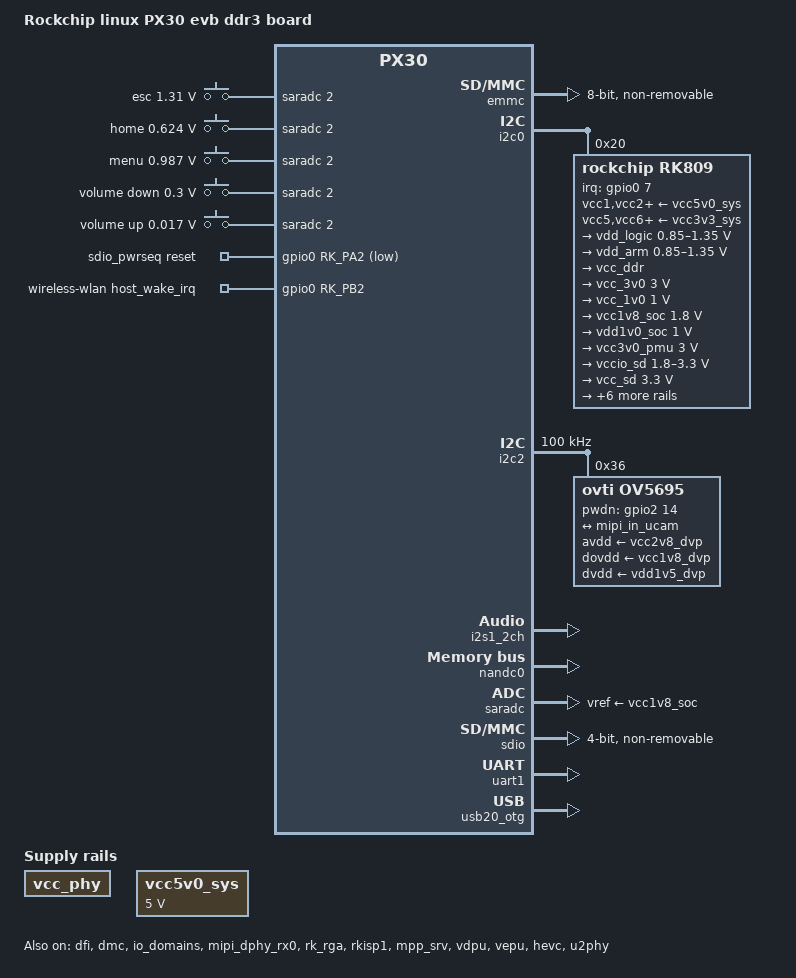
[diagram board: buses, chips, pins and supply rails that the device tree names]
// SPDX-License-Identifier: (GPL-2.0+ OR MIT)
/*
 * Copyright (c) 2019 Fuzhou Rockchip Electronics Co., Ltd
 */

/dts-v1/;
#include <dt-bindings/gpio/gpio.h>
#include <dt-bindings/pinctrl/rockchip.h>
#include <dt-bindings/input/input.h>
#include "px30-robot.dtsi"

/ {
	model = "Rockchip linux PX30 evb ddr3 board";
	compatible = "rockchip,px30-evb-ddr3-v10-linux", "rockchip,px30";

	adc-keys {
		compatible = "adc-keys";
		io-channels = <&saradc 2>;
		io-channel-names = "buttons";
		poll-interval = <100>;
		keyup-threshold-microvolt = <1800000>;

		esc-key {
			linux,code = <KEY_ESC>;
			label = "esc";
			press-threshold-microvolt = <1310000>;
		};

		home-key {
			linux,code = <KEY_HOME>;
			label = "home";
			press-threshold-microvolt = <624000>;
		};

		menu-key {
			linux,code = <KEY_MENU>;
			label = "menu";
			press-threshold-microvolt = <987000>;
		};

		vol-down-key {
			linux,code = <KEY_VOLUMEDOWN>;
			label = "volume down";
			press-threshold-microvolt = <300000>;
		};

		vol-up-key {
			linux,code = <KEY_VOLUMEUP>;
			label = "volume up";
			press-threshold-microvolt = <17000>;
		};
	};

	rk809-sound {
		compatible = "simple-audio-card";
		simple-audio-card,format = "i2s";
		simple-audio-card,name = "rockchip,rk809-codec";
		simple-audio-card,mclk-fs = <256>;
		simple-audio-card,cpu {
			sound-dai = <&i2s1_2ch>;
		};
		simple-audio-card,codec {
			sound-dai = <&rk809_codec>;
		};
	};

	sdio_pwrseq: sdio-pwrseq {
		compatible = "mmc-pwrseq-simple";
		/*clocks = <&rk809 1>;*/
		/*clock-names = "ext_clock";*/
		pinctrl-names = "default";
		pinctrl-0 = <&wifi_enable_h>;

		/*
		 * On the module itself this is one of these (depending
		 * on the actual card populated):
		 * - SDIO_RESET_L_WL_REG_ON
		 * - PDN (power down when low)
		 */
		reset-gpios = <&gpio0 RK_PA2 GPIO_ACTIVE_LOW>; /* GPIO3_A4 */
	};

	vcc_phy: vcc-phy-regulator {
		compatible = "regulator-fixed";
		regulator-name = "vcc_phy";
		regulator-always-on;
		regulator-boot-on;
	};

	vcc5v0_sys: vccsys {
		compatible = "regulator-fixed";
		regulator-name = "vcc5v0_sys";
		regulator-always-on;
		regulator-boot-on;
		regulator-min-microvolt = <5000000>;
		regulator-max-microvolt = <5000000>;
	};

	wireless-wlan {
		compatible = "wlan-platdata";
		wifi_chip_type = "AP6210";
		WIFI,host_wake_irq = <&gpio0 RK_PB2 GPIO_ACTIVE_HIGH>;
		status = "okay";
	};
};

&bus_apll {
	bus-supply = <&vdd_logic>;
	status = "okay";
};

&cpu0 {
	cpu-supply = <&vdd_arm>;
};

&dfi {
	status = "okay";
};

&dmc {
	center-supply = <&vdd_logic>;
	status = "okay";
};

&emmc {
	bus-width = <8>;
	cap-mmc-highspeed;
	mmc-hs200-1_8v;
	no-sdio;
	no-sd;
	disable-wp;
	non-removable;
	num-slots = <1>;
	status = "okay";
};

&gpu {
	mali-supply = <&vdd_logic>;
	status = "disabled";
};

&i2c0 {
	status = "okay";

	rk809: pmic@20 {
		compatible = "rockchip,rk809";
		reg = <0x20>;
		interrupt-parent = <&gpio0>;
		interrupts = <7 IRQ_TYPE_LEVEL_LOW>;
		pinctrl-names = "default", "pmic-sleep",
				"pmic-power-off", "pmic-reset";
		pinctrl-0 = <&pmic_int>;
		pinctrl-1 = <&soc_slppin_slp>, <&rk817_slppin_slp>;
		pinctrl-2 = <&soc_slppin_gpio>, <&rk817_slppin_pwrdn>;
		pinctrl-3 = <&soc_slppin_rst>, <&rk817_slppin_rst>;
		rockchip,system-power-controller;
		wakeup-source;
		#clock-cells = <1>;
		clock-output-names = "rk808-clkout1", "rk808-clkout2";
		//fb-inner-reg-idxs = <2>;
		/* 1: rst regs (default in codes), 0: rst the pmic */
		pmic-reset-func = <1>;

		vcc1-supply = <&vcc5v0_sys>;
		vcc2-supply = <&vcc5v0_sys>;
		vcc3-supply = <&vcc5v0_sys>;
		vcc4-supply = <&vcc5v0_sys>;
		vcc5-supply = <&vcc3v3_sys>;
		vcc6-supply = <&vcc3v3_sys>;
		vcc7-supply = <&vcc3v3_sys>;
		vcc8-supply = <&vcc3v3_sys>;
		vcc9-supply = <&vcc5v0_sys>;

		pwrkey {
			status = "okay";
		};

		pinctrl_rk8xx: pinctrl_rk8xx {
			gpio-controller;
			#gpio-cells = <2>;

			rk817_slppin_null: rk817_slppin_null {
				pins = "gpio_slp";
				function = "pin_fun0";
			};

			rk817_slppin_slp: rk817_slppin_slp {
				pins = "gpio_slp";
				function = "pin_fun1";
			};

			rk817_slppin_pwrdn: rk817_slppin_pwrdn {
				pins = "gpio_slp";
				function = "pin_fun2";
			};

			rk817_slppin_rst: rk817_slppin_rst {
				pins = "gpio_slp";
				function = "pin_fun3";
			};
		};

		regulators {
			vdd_logic: DCDC_REG1 {
				regulator-always-on;
				regulator-boot-on;
				regulator-min-microvolt = <850000>;
				regulator-max-microvolt = <1350000>;
				regulator-ramp-delay = <6001>;
				regulator-initial-mode = <0x2>;
				regulator-name = "vdd_logic";
				regulator-state-mem {
					regulator-on-in-suspend;
					regulator-suspend-microvolt = <950000>;
				};
			};

			vdd_arm: DCDC_REG2 {
				regulator-always-on;
				regulator-boot-on;
				regulator-min-microvolt = <850000>;
				regulator-max-microvolt = <1350000>;
				regulator-ramp-delay = <6001>;
				regulator-initial-mode = <0x2>;
				regulator-name = "vdd_arm";
				regulator-state-mem {
					regulator-off-in-suspend;
					regulator-suspend-microvolt = <950000>;
				};
			};

			vcc_ddr: DCDC_REG3 {
				regulator-always-on;
				regulator-boot-on;
				regulator-name = "vcc_ddr";
				regulator-initial-mode = <0x2>;
				regulator-state-mem {
					regulator-on-in-suspend;
				};
			};

			vcc_3v0: DCDC_REG4 {
				regulator-always-on;
				regulator-boot-on;
				regulator-min-microvolt = <3000000>;
				regulator-max-microvolt = <3000000>;
				regulator-initial-mode = <0x2>;
				regulator-name = "vcc_3v0";
				regulator-state-mem {
					regulator-on-in-suspend;
					regulator-suspend-microvolt = <3000000>;
				};
			};

			vcc_1v0: LDO_REG1 {
				regulator-always-on;
				regulator-boot-on;
				regulator-min-microvolt = <1000000>;
				regulator-max-microvolt = <1000000>;
				regulator-name = "vcc_1v0";
				regulator-state-mem {
					regulator-on-in-suspend;
					regulator-suspend-microvolt = <1000000>;
				};
			};

			vcc1v8_soc: LDO_REG2 {
				regulator-always-on;
				regulator-boot-on;
				regulator-min-microvolt = <1800000>;
				regulator-max-microvolt = <1800000>;

				regulator-name = "vcc1v8_soc";
				regulator-state-mem {
					regulator-on-in-suspend;
					regulator-suspend-microvolt = <1800000>;
				};
			};

			vdd1v0_soc: LDO_REG3 {
				regulator-always-on;
				regulator-boot-on;
				regulator-min-microvolt = <1000000>;
				regulator-max-microvolt = <1000000>;

				regulator-name = "vcc1v0_soc";
				regulator-state-mem {
					regulator-on-in-suspend;
					regulator-suspend-microvolt = <1000000>;
				};
			};

			vcc3v0_pmu: LDO_REG4 {
				regulator-always-on;
				regulator-boot-on;
				regulator-min-microvolt = <3000000>;
				regulator-max-microvolt = <3000000>;

				regulator-name = "vcc3v0_pmu";
				regulator-state-mem {
					regulator-on-in-suspend;
					regulator-suspend-microvolt = <3000000>;

				};
			};

			vccio_sd: LDO_REG5 {
				regulator-always-on;
				regulator-boot-on;
				regulator-min-microvolt = <1800000>;
				regulator-max-microvolt = <3300000>;

				regulator-name = "vccio_sd";
				regulator-state-mem {
					regulator-on-in-suspend;
					regulator-suspend-microvolt = <3300000>;
				};
			};

			vcc_sd: LDO_REG6 {
				regulator-min-microvolt = <3300000>;
				regulator-max-microvolt = <3300000>;
				regulator-boot-on;

				regulator-name = "vcc_sd";
				regulator-state-mem {
					regulator-on-in-suspend;
					regulator-suspend-microvolt = <3300000>;

				};
			};

			vcc2v8_dvp: LDO_REG7 {
				regulator-min-microvolt = <2800000>;
				regulator-max-microvolt = <2800000>;

				regulator-name = "vcc2v8_dvp";
				regulator-state-mem {
					regulator-off-in-suspend;
					regulator-suspend-microvolt = <2800000>;
				};
			};

			vcc1v8_dvp: LDO_REG8 {
				regulator-min-microvolt = <1800000>;
				regulator-max-microvolt = <1800000>;

				regulator-name = "vcc1v8_dvp";
				regulator-state-mem {
					regulator-on-in-suspend;
					regulator-suspend-microvolt = <1800000>;
				};
			};

			vdd1v5_dvp: LDO_REG9 {
				regulator-min-microvolt = <1500000>;
				regulator-max-microvolt = <1500000>;

				regulator-name = "vdd1v5_dvp";
				regulator-state-mem {
					regulator-off-in-suspend;
					regulator-suspend-microvolt = <1500000>;
				};
			};

			vcc3v3_sys: DCDC_REG5 {
				regulator-always-on;
				regulator-boot-on;
				regulator-min-microvolt = <3300000>;
				regulator-max-microvolt = <3300000>;
				regulator-name = "vcc3v3_sys";
				regulator-state-mem {
					regulator-on-in-suspend;
					regulator-suspend-microvolt = <3300000>;
				};
			};

			vcc5v0_host: SWITCH_REG1 {
				regulator-always-on;
				regulator-boot-on;
				regulator-name = "vcc5v0_host";
			};

			vcc3v3_lcd: SWITCH_REG2 {
				regulator-boot-on;
				regulator-name = "vcc3v3_lcd";
			};
		};

		rk809_codec: codec {
			#sound-dai-cells = <0>;
			compatible = "rockchip,rk809-codec", "rockchip,rk817-codec";
			clocks = <&cru SCLK_I2S1_OUT>;
			clock-names = "mclk";
			pinctrl-names = "default";
			pinctrl-0 = <&i2s1_2ch_mclk>;
			hp-volume = <20>;
			spk-volume = <3>;
			status = "okay";
		};
	};
};

&i2c2 {
	status = "okay";

	clock-frequency = <100000>;
	pinctrl-0 = <&i2c2_xfer>;

	/* These are relatively safe rise/fall times; TODO: measure */
	i2c-scl-falling-time-ns = <50>;
	i2c-scl-rising-time-ns = <300>;

	ov5695: ov5695@36 {
		compatible = "ovti,ov5695";
		reg = <0x36>;
		clocks = <&cru SCLK_CIF_OUT>;
		clock-names = "xvclk";
		/*reset-gpios = <&gpio2 14 GPIO_ACTIVE_HIGH>;*/

		avdd-supply = <&vcc2v8_dvp>;
		dovdd-supply = <&vcc1v8_dvp>;
		dvdd-supply = <&vdd1v5_dvp>;

		pwdn-gpios = <&gpio2 14 GPIO_ACTIVE_HIGH>;
		pinctrl-names = "default";
		pinctrl-0 = <&cif_clkout_m0>;
		port {
			ucam_out: endpoint {
				remote-endpoint = <&mipi_in_ucam>;
				data-lanes = <1 2>;
			};
		};
	};
};

&i2s1_2ch {
	status = "okay";
	#sound-dai-cells = <0>;
};

&io_domains {
	status = "okay";

	vccio1-supply = <&vcc_3v0>;
	vccio2-supply = <&vccio_sd>;
	vccio3-supply = <&vcc_3v0>;
	vccio4-supply = <&vcc3v0_pmu>;
	vccio5-supply = <&vcc_3v0>;
};

&isp_mmu {
	status = "okay";
};

&mipi_dphy_rx0 {
	status = "okay";

	ports {
		#address-cells = <1>;
		#size-cells = <0>;

		port@0 {
			reg = <0>;
			#address-cells = <1>;
			#size-cells = <0>;

			mipi_in_ucam: endpoint@1 {
				reg = <1>;
				remote-endpoint = <&ucam_out>;
				data-lanes = <1 2>;
			};
		};

		port@1 {
			reg = <1>;
			#address-cells = <1>;
			#size-cells = <0>;

			dphy_rx0_out: endpoint@0 {
				reg = <0>;
				remote-endpoint = <&isp0_mipi_in>;
			};
		};
	};
};

&nandc0 {
	status = "okay";
};

&pmu_io_domains {
	status = "okay";

	pmuio1-supply = <&vcc3v0_pmu>;
	pmuio2-supply = <&vcc3v0_pmu>;
};

&rk_rga {
	status = "okay";
};

&rkisp1 {
	status = "okay";

	port {
		#address-cells = <1>;
		#size-cells = <0>;

		isp0_mipi_in: endpoint@0 {
			reg = <0>;
			remote-endpoint = <&dphy_rx0_out>;
		};
	};
};

&saradc {
	status = "okay";
	vref-supply = <&vcc1v8_soc>;
};

&sdmmc {
	bus-width = <4>;
	cap-mmc-highspeed;
	cap-sd-highspeed;
	no-sdio;
	no-mmc;
	card-detect-delay = <800>;
	ignore-pm-notify;
	/*cd-gpios = <&gpio2 4 GPIO_ACTIVE_HIGH>; [> CD GPIO <]*/
	sd-uhs-sdr12;
	sd-uhs-sdr25;
	sd-uhs-sdr50;
	sd-uhs-sdr104;
	vqmmc-supply = <&vccio_sd>;
	vmmc-supply = <&vcc_sd>;
	status = "disabled";
};

&sdio {
	bus-width = <4>;
	cap-sd-highspeed;
	no-sd;
	no-mmc;
	ignore-pm-notify;
	keep-power-in-suspend;
	non-removable;
	mmc-pwrseq = <&sdio_pwrseq>;
	sd-uhs-sdr104;
	status = "okay";
};

&mpp_srv {
	status = "okay";
};

&vdpu {
	status = "okay";
};

&vepu {
	status = "okay";
};

&vpu_mmu {
	status = "okay";
};

&hevc {
	status = "okay";
};

&hevc_mmu {
	status = "okay";
};

&uart1 {
	pinctrl-names = "default";
	pinctrl-0 = <&uart1_xfer &uart1_cts>;
	status = "okay";
};

&u2phy {
	status = "okay";

	u2phy_otg: otg-port {
		status = "okay";
	};
};

&usb20_otg {
	status = "okay";
};

&pinctrl {
	pmic {
		pmic_int: pmic_int {
			rockchip,pins =
				<0 RK_PA7 RK_FUNC_GPIO &pcfg_pull_up>;
		};

		soc_slppin_gpio: soc_slppin_gpio {
			rockchip,pins =
				<0 RK_PA4 RK_FUNC_GPIO &pcfg_output_low>;
		};

		soc_slppin_slp: soc_slppin_slp {
			rockchip,pins =
				<0 RK_PA4 1 &pcfg_pull_none>;
		};

		soc_slppin_rst: soc_slppin_rst {
			rockchip,pins =
				<0 RK_PA4 2 &pcfg_pull_none>;
		};
	};

	sdio-pwrseq {
		wifi_enable_h: wifi-enable-h {
			rockchip,pins = <0 RK_PA2 RK_FUNC_GPIO &pcfg_pull_none>;
		};
	};
};

/* DON'T PUT ANYTHING BELOW HERE.  PUT IT ABOVE PINCTRL */
/* DON'T PUT ANYTHING BELOW HERE.  PUT IT ABOVE PINCTRL */
/* DON'T PUT ANYTHING BELOW HERE.  PUT IT ABOVE PINCTRL */
